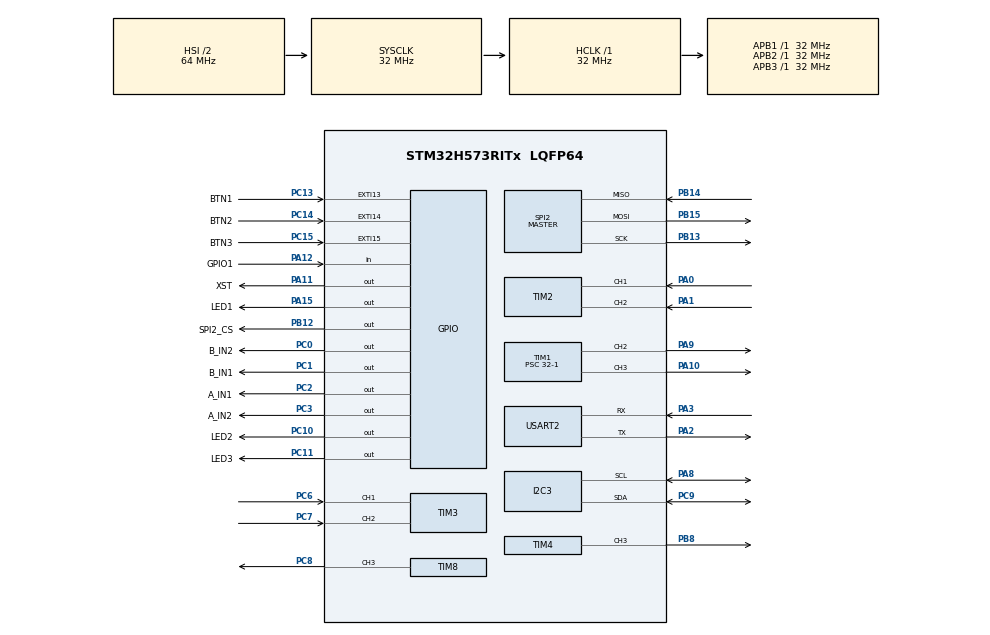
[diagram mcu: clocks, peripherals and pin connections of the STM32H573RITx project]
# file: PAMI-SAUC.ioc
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BOOTPATH.BootPathName=LEGACY
BOOTPATH.UserSelectedBootPath=LEGACY
CORTEX_M33_NS.userName=CORTEX_M33
I2C3.Timing=0x00707CBB
Mcu.Family=STM32H5
Mcu.Name=STM32H573RITx
Mcu.Package=LQFP64
NVIC.EXTI13_IRQn=true\:0\:0\:false\:false\:true\:true\:true\:true
NVIC.EXTI14_IRQn=true\:0\:0\:false\:false\:true\:true\:true\:true
NVIC.EXTI15_IRQn=true\:0\:0\:false\:false\:true\:true\:true\:true
NVIC.PriorityGroup=NVIC_PRIORITYGROUP_4
PA0.Signal=S_TIM2_CH1
PA1.Signal=S_TIM2_CH2
PA10.Signal=S_TIM1_CH3
PA11.GPIO_Label=XST
PA11.Signal=GPIO_Output
PA12.GPIO_Label=GPIO1
PA12.Signal=GPIO_Input
PA13(JTMS/SWDIO).Mode=Trace_Asynchronous_SW
PA13(JTMS/SWDIO).Signal=DEBUG_JTMS-SWDIO
PA14(JTCK/SWCLK).Mode=Trace_Asynchronous_SW
PA14(JTCK/SWCLK).Signal=DEBUG_JTCK-SWCLK
PA15(JTDI).GPIO_Label=LED1
PA15(JTDI).Signal=GPIO_Output
PA2.Mode=Asynchronous
PA2.Signal=USART2_TX
PA3.Mode=Asynchronous
PA3.Signal=USART2_RX
PA8.Mode=I2C
PA8.Signal=I2C3_SCL
PA9.Signal=S_TIM1_CH2
PB12.GPIO_Label=SPI2_CS
PB12.Signal=GPIO_Output
PB13.Mode=Full_Duplex_Master
PB13.Signal=SPI2_SCK
PB14.Mode=Full_Duplex_Master
PB14.Signal=SPI2_MISO
PB15.Mode=Full_Duplex_Master
PB15.Signal=SPI2_MOSI
PB3(JTDO/TRACESWO).Mode=Trace_Asynchronous_SW
PB3(JTDO/TRACESWO).Signal=DEBUG_JTDO-SWO
PB8.Signal=S_TIM4_CH3
PC0.GPIO_Label=B_IN2
PC0.Signal=GPIO_Output
PC1.GPIO_Label=B_IN1
PC1.Signal=GPIO_Output
PC10.GPIO_Label=LED2
PC10.Signal=GPIO_Output
PC11.GPIO_Label=LED3
PC11.Signal=GPIO_Output
PC13.GPIO_Label=BTN1
PC13.GPIO_PuPd=GPIO_PULLUP
PC13.Signal=GPXTI13
PC14-OSC32_IN(OSC32_IN).GPIO_Label=BTN2
PC14-OSC32_IN(OSC32_IN).GPIO_PuPd=GPIO_PULLUP
PC14-OSC32_IN(OSC32_IN).Signal=GPXTI14
PC15-OSC32_OUT(OSC32_OUT).GPIO_Label=BTN3
PC15-OSC32_OUT(OSC32_OUT).GPIO_PuPd=GPIO_PULLUP
PC15-OSC32_OUT(OSC32_OUT).Signal=GPXTI15
PC2.GPIO_Label=A_IN1
PC2.Signal=GPIO_Output
PC3.GPIO_Label=A_IN2
PC3.Signal=GPIO_Output
PC6.Signal=S_TIM3_CH1
PC7.Signal=S_TIM3_CH2
PC8.Signal=S_TIM8_CH3
PC9.Mode=I2C
PC9.Signal=I2C3_SDA
PH0-OSC_IN(PH0).Mode=HSE-External-Oscillator
PH0-OSC_IN(PH0).Signal=RCC_OSC_IN
PH1-OSC_OUT(PH1).Mode=HSE-External-Oscillator
PH1-OSC_OUT(PH1).Signal=RCC_OSC_OUT
ProjectManager.HeapSize=0x200
ProjectManager.StackSize=0x400
ProjectManager.TargetToolchain=STM32CubeIDE
RCC.ADCFreq_Value=32000000
RCC.AHBFreq_Value=32000000
RCC.APB1Freq_Value=32000000
RCC.APB1TimFreq_Value=32000000
RCC.APB2Freq_Value=32000000
RCC.APB2TimFreq_Value=32000000
RCC.APB3Freq_Value=32000000
RCC.CSI_VALUE=4000000
RCC.CortexFreq_Value=32000000
RCC.EPOD_VALUE=4000000
RCC.HCLKFreq_Value=32000000
RCC.HSE_VALUE=25000000
RCC.HSI48_VALUE=48000000
RCC.HSI_VALUE=64000000
RCC.LSE_VALUE=32768
RCC.LSIRC_VALUE=32000
RCC.PLL1Q=3
RCC.PLLFRACN=0
RCC.PLLN=32
RCC.SYSCLKFreq_VALUE=32000000
RCC.USBFreq_Value=48000000
RCC.VCOOutputFreq_Value=128000000
SH.S_TIM1_CH2.0=TIM1_CH2,PWM Generation2 CH2
SH.S_TIM1_CH3.0=TIM1_CH3,PWM Generation3 CH3
SH.S_TIM2_CH1.0=TIM2_CH1,Encoder_Interface
SH.S_TIM2_CH2.0=TIM2_CH2,Encoder_Interface
SH.S_TIM3_CH1.0=TIM3_CH1,Encoder_Interface
SH.S_TIM3_CH2.0=TIM3_CH2,Encoder_Interface
SH.S_TIM4_CH3.0=TIM4_CH3,PWM Generation3 CH3
SH.S_TIM8_CH3.0=TIM8_CH3,PWM Generation3 CH3
SPI2.CalculateBaudRate=21.333332 MBits/s
SPI2.Direction=SPI_DIRECTION_2LINES
SPI2.Mode=SPI_MODE_MASTER
SPI2.VirtualType=VM_MASTER
TIM1.Channel-PWM\ Generation2\ CH2=TIM_CHANNEL_2
TIM1.Channel-PWM\ Generation3\ CH3=TIM_CHANNEL_3
TIM1.PeriodNoDither=2000-1
TIM1.Prescaler=32-1
TIM4.Channel-PWM\ Generation3\ CH3=TIM_CHANNEL_3
TIM8.Channel-PWM\ Generation3\ CH3=TIM_CHANNEL_3
USART2.VirtualMode-Asynchronous=VM_ASYNC
VP_BOOTPATH_VS_BOOTPATH.Mode=BP_Activate
VP_CORTEX_M33_NS_VS_Hclk.Mode=Hclk_Mode
VP_ICACHE_VS_ICACHE.Mode=DirectMappedCache
VP_MEMORYMAP_VS_MEMORYMAP.Mode=CurAppReg
VP_PWR_VS_LPOM.Mode=PowerOptimisation
VP_PWR_VS_SECSignals.Mode=Security/Privilege
VP_TIM1_VS_ClockSourceINT.Mode=Internal
VP_TIM4_VS_ClockSourceINT.Mode=Internal
VP_TIM8_VS_ClockSourceINT.Mode=Internal
board=custom

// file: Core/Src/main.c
/* USER CODE BEGIN Header */
/**
  ******************************************************************************
  * @file           : main.c
  * @brief          : Main program body
  ******************************************************************************
  * @attention
  *
  * Copyright (c) 2026 STMicroelectronics.
  * All rights reserved.
  *
  * This software is licensed under terms that can be found in the LICENSE file
  * in the root directory of this software component.
  * If no LICENSE file comes with this software, it is provided AS-IS.
  *
  ******************************************************************************
  */
/* USER CODE END Header */
#include "main.h"

/* USER CODE BEGIN Includes */
#include "utils.h"
/* USER CODE END Includes */

/* USER CODE BEGIN PTD */
enum etat_jeu { OFF, AVANT_JEU, DEPLACEMENT, ANIMATION };
/* USER CODE END PTD */

I2C_HandleTypeDef hi2c3;

SPI_HandleTypeDef hspi2;

TIM_HandleTypeDef htim1;
TIM_HandleTypeDef htim2;
TIM_HandleTypeDef htim3;
TIM_HandleTypeDef htim4;
TIM_HandleTypeDef htim8;

UART_HandleTypeDef huart2;

/* USER CODE BEGIN PV */
enum etat_jeu etape = OFF;
statInfo_t_VL53L0X distanceStr;
LineSensor_t lineFollower;
uint8_t detection_IR;
uint16_t distance;
bool M1 = 1, M2 = 1;
/* USER CODE END PV */

void SystemClock_Config(void);
static void MX_GPIO_Init(void);
static void MX_I2C3_Init(void);
static void MX_SPI2_Init(void);
static void MX_TIM1_Init(void);
static void MX_TIM2_Init(void);
static void MX_TIM3_Init(void);
static void MX_TIM4_Init(void);
static void MX_TIM8_Init(void);
static void MX_USART2_UART_Init(void);
static void MX_ICACHE_Init(void);

/* USER CODE BEGIN 0 */
int __io_putchar(int ch)
{
	HAL_UART_Transmit(&huart2, (uint8_t *)&ch, 1, HAL_MAX_DELAY);
	return ch;
}

int __io_getchar(void)
{
	uint8_t ch = 0;
	__HAL_UART_CLEAR_OREFLAG(&huart2);
	HAL_UART_Receive(&huart2, (uint8_t *)&ch, 1, HAL_MAX_DELAY);
	HAL_UART_Transmit(&huart2, (uint8_t *)&ch, 1, HAL_MAX_DELAY);
	return ch;
}
/* USER CODE END 0 */

int main(void)
{

  /* USER CODE BEGIN 1 */
  Line_Init(&lineFollower, &hspi2, SPI2_CS_GPIO_Port, SPI2_CS_Pin, 8);
  //initVL53L0X(1, &hi2c3);
  printf("Calibration Capteurs Ligne (0-4095)\r\n");

  /* USER CODE END 1 */

  /* MCU Configuration--------------------------------------------------------*/

  /* Reset of all peripherals, Initializes the Flash interface and the Systick. */
  HAL_Init();

  /* Configure the system clock */
  SystemClock_Config();

  /* Initialize all configured peripherals */
  MX_GPIO_Init();
  MX_I2C3_Init();
  MX_SPI2_Init();
  MX_TIM1_Init();
  MX_TIM2_Init();
  MX_TIM3_Init();
  MX_TIM4_Init();
  MX_TIM8_Init();
  MX_USART2_UART_Init();
  MX_ICACHE_Init();
  /* USER CODE BEGIN 2 */
  HAL_TIM_PWM_Start(&htim1, TIM_CHANNEL_2); HAL_TIM_PWM_Start(&htim1, TIM_CHANNEL_3);
  HAL_GPIO_WritePin(GPIOC, A_IN1_Pin, 1); HAL_GPIO_WritePin(GPIOC, A_IN2_Pin, 0);
  HAL_GPIO_WritePin(GPIOC, B_IN1_Pin, 1); HAL_GPIO_WritePin(GPIOC, B_IN2_Pin, 0);
	setSignalRateLimit(200);
	setVcselPulsePeriod(VcselPeriodPreRange, 10);
	setVcselPulsePeriod(VcselPeriodFinalRange, 14);
	//setMeasurementTimingBudget(300 * 1000UL);
  /* USER CODE END 2 */

  /* Infinite loop */
  /* USER CODE BEGIN WHILE */
  while (1)
  {
	  /*int test=0;
	  HAL_GPIO_ReadPin(BTN1_GPIO_Port , BTN1_Pin);
	  test=HAL_GPIO_ReadPin(BTN1_GPIO_Port , BTN1_Pin);
	  */

	  /*switch(etape)
	  {
	  case OFF :
		  break;
	  case AVANT_JEU :
		  HAL_Delay(90000);
		  etape++;
		  break;
	  case DEPLACEMENT :
		  Line_ReadAll(&lineFollower);
		  distance = readRangeSingleMillimeters(&distanceStr);
		  printf("C1:%d C2:%d C3:%d C4:%d C5:%d C6:%d C7:%d C8:%d\r\n",
		         lineFollower.sensorValues[1], lineFollower.sensorValues[2],
		         lineFollower.sensorValues[3], lineFollower.sensorValues[4],
		         lineFollower.sensorValues[5], lineFollower.sensorValues[6],
		         lineFollower.sensorValues[7], lineFollower.sensorValues[0]);
		  for(int i=0; i<8; i++)
			  if(lineFollower.sensorValues[i]>3000) lineFollower.sensorValues[i] = 1;
			  else                                  lineFollower.sensorValues[i] = 0;
		  detection_IR = (lineFollower.sensorValues[1] << 7) | (lineFollower.sensorValues[2] << 6) |
				         (lineFollower.sensorValues[3] << 5) | (lineFollower.sensorValues[4] << 4) |
				         (lineFollower.sensorValues[5] << 3) | (lineFollower.sensorValues[6] << 2) |
				         (lineFollower.sensorValues[7] << 1) | (lineFollower.sensorValues[0] << 0) ;
		  switch(detection_IR)
		  {
		  case 0b00011000 :
			  M1 = M2 = 1;
			  break;
		  case 0b00000000 :
			  M1 = M2 = 0;
			  break;
		  case 0b00001000 :
			  M1 = 1; M2 = 0;
			  break;
		  case 0b00010000 :
			  M1 = 0; M2 = 1;
			  break;
		  }
		  Moteurs(M1,M2);
		  if(distance < 10) { M1 = M2 = 0; }
		  break;
	  case ANIMATION :
		  // Fonction pour effectuer le salut avec le XL320
		  etape--;
		  break;
	  }*/
    /* USER CODE END WHILE */

  }
}

void SystemClock_Config(void)
{
  RCC_OscInitTypeDef RCC_OscInitStruct = {0};
  RCC_ClkInitTypeDef RCC_ClkInitStruct = {0};

  /** Configure the main internal regulator output voltage
  */
  __HAL_PWR_VOLTAGESCALING_CONFIG(PWR_REGULATOR_VOLTAGE_SCALE3);

  while(!__HAL_PWR_GET_FLAG(PWR_FLAG_VOSRDY)) {}

  /** Initializes the RCC Oscillators according to the specified parameters
  * in the RCC_OscInitTypeDef structure.
  */
  RCC_OscInitStruct.OscillatorType = RCC_OSCILLATORTYPE_HSI|RCC_OSCILLATORTYPE_CSI;
  RCC_OscInitStruct.HSIState = RCC_HSI_ON;
  RCC_OscInitStruct.HSIDiv = RCC_HSI_DIV2;
  RCC_OscInitStruct.HSICalibrationValue = RCC_HSICALIBRATION_DEFAULT;
  RCC_OscInitStruct.CSIState = RCC_CSI_ON;
  RCC_OscInitStruct.CSICalibrationValue = RCC_CSICALIBRATION_DEFAULT;
  RCC_OscInitStruct.PLL.PLLState = RCC_PLL_ON;
  RCC_OscInitStruct.PLL.PLLSource = RCC_PLL1_SOURCE_CSI;
  RCC_OscInitStruct.PLL.PLLM = 1;
  RCC_OscInitStruct.PLL.PLLN = 32;
  RCC_OscInitStruct.PLL.PLLP = 2;
  RCC_OscInitStruct.PLL.PLLQ = 3;
  RCC_OscInitStruct.PLL.PLLR = 2;
  RCC_OscInitStruct.PLL.PLLRGE = RCC_PLL1_VCIRANGE_2;
  RCC_OscInitStruct.PLL.PLLVCOSEL = RCC_PLL1_VCORANGE_WIDE;
  RCC_OscInitStruct.PLL.PLLFRACN = 0;
  if (HAL_RCC_OscConfig(&RCC_OscInitStruct) != HAL_OK)
  {
    Error_Handler();
  }

  /** Initializes the CPU, AHB and APB buses clocks
  */
  RCC_ClkInitStruct.ClockType = RCC_CLOCKTYPE_HCLK|RCC_CLOCKTYPE_SYSCLK
                              |RCC_CLOCKTYPE_PCLK1|RCC_CLOCKTYPE_PCLK2
                              |RCC_CLOCKTYPE_PCLK3;
  RCC_ClkInitStruct.SYSCLKSource = RCC_SYSCLKSOURCE_HSI;
  RCC_ClkInitStruct.AHBCLKDivider = RCC_SYSCLK_DIV1;
  RCC_ClkInitStruct.APB1CLKDivider = RCC_HCLK_DIV1;
  RCC_ClkInitStruct.APB2CLKDivider = RCC_HCLK_DIV1;
  RCC_ClkInitStruct.APB3CLKDivider = RCC_HCLK_DIV1;

  if (HAL_RCC_ClockConfig(&RCC_ClkInitStruct, FLASH_LATENCY_1) != HAL_OK)
  {
    Error_Handler();
  }

  /** Configure the programming delay
  */
  __HAL_FLASH_SET_PROGRAM_DELAY(FLASH_PROGRAMMING_DELAY_0);
}

static void MX_I2C3_Init(void)
{

  hi2c3.Instance = I2C3;
  hi2c3.Init.Timing = 0x00707CBB;
  hi2c3.Init.OwnAddress1 = 0;
  hi2c3.Init.AddressingMode = I2C_ADDRESSINGMODE_7BIT;
  hi2c3.Init.DualAddressMode = I2C_DUALADDRESS_DISABLE;
  hi2c3.Init.OwnAddress2 = 0;
  hi2c3.Init.OwnAddress2Masks = I2C_OA2_NOMASK;
  hi2c3.Init.GeneralCallMode = I2C_GENERALCALL_DISABLE;
  hi2c3.Init.NoStretchMode = I2C_NOSTRETCH_DISABLE;
  if (HAL_I2C_Init(&hi2c3) != HAL_OK)
  {
    Error_Handler();
  }

  /** Configure Analogue filter
  */
  if (HAL_I2CEx_ConfigAnalogFilter(&hi2c3, I2C_ANALOGFILTER_ENABLE) != HAL_OK)
  {
    Error_Handler();
  }

  /** Configure Digital filter
  */
  if (HAL_I2CEx_ConfigDigitalFilter(&hi2c3, 0) != HAL_OK)
  {
    Error_Handler();
  }

}

static void MX_ICACHE_Init(void)
{

  /** Enable instruction cache in 1-way (direct mapped cache)
  */
  if (HAL_ICACHE_ConfigAssociativityMode(ICACHE_1WAY) != HAL_OK)
  {
    Error_Handler();
  }
  if (HAL_ICACHE_Enable() != HAL_OK)
  {
    Error_Handler();
  }

}

static void MX_SPI2_Init(void)
{

  /* SPI2 parameter configuration*/
  hspi2.Instance = SPI2;
  hspi2.Init.Mode = SPI_MODE_MASTER;
  hspi2.Init.Direction = SPI_DIRECTION_2LINES;
  hspi2.Init.DataSize = SPI_DATASIZE_4BIT;
  hspi2.Init.CLKPolarity = SPI_POLARITY_LOW;
  hspi2.Init.CLKPhase = SPI_PHASE_1EDGE;
  hspi2.Init.NSS = SPI_NSS_SOFT;
  hspi2.Init.BaudRatePrescaler = SPI_BAUDRATEPRESCALER_2;
  hspi2.Init.FirstBit = SPI_FIRSTBIT_MSB;
  hspi2.Init.TIMode = SPI_TIMODE_DISABLE;
  hspi2.Init.CRCCalculation = SPI_CRCCALCULATION_DISABLE;
  hspi2.Init.CRCPolynomial = 0x7;
  hspi2.Init.NSSPMode = SPI_NSS_PULSE_ENABLE;
  hspi2.Init.NSSPolarity = SPI_NSS_POLARITY_LOW;
  hspi2.Init.FifoThreshold = SPI_FIFO_THRESHOLD_01DATA;
  hspi2.Init.MasterSSIdleness = SPI_MASTER_SS_IDLENESS_00CYCLE;
  hspi2.Init.MasterInterDataIdleness = SPI_MASTER_INTERDATA_IDLENESS_00CYCLE;
  hspi2.Init.MasterReceiverAutoSusp = SPI_MASTER_RX_AUTOSUSP_DISABLE;
  hspi2.Init.MasterKeepIOState = SPI_MASTER_KEEP_IO_STATE_DISABLE;
  hspi2.Init.IOSwap = SPI_IO_SWAP_DISABLE;
  hspi2.Init.ReadyMasterManagement = SPI_RDY_MASTER_MANAGEMENT_INTERNALLY;
  hspi2.Init.ReadyPolarity = SPI_RDY_POLARITY_HIGH;
  if (HAL_SPI_Init(&hspi2) != HAL_OK)
  {
    Error_Handler();
  }

}

static void MX_TIM1_Init(void)
{

  TIM_ClockConfigTypeDef sClockSourceConfig = {0};
  TIM_MasterConfigTypeDef sMasterConfig = {0};
  TIM_OC_InitTypeDef sConfigOC = {0};
  TIM_BreakDeadTimeConfigTypeDef sBreakDeadTimeConfig = {0};

  htim1.Instance = TIM1;
  htim1.Init.Prescaler = 32-1;
  htim1.Init.CounterMode = TIM_COUNTERMODE_UP;
  htim1.Init.Period = 1999;
  htim1.Init.ClockDivision = TIM_CLOCKDIVISION_DIV1;
  htim1.Init.RepetitionCounter = 0;
  htim1.Init.AutoReloadPreload = TIM_AUTORELOAD_PRELOAD_DISABLE;
  if (HAL_TIM_Base_Init(&htim1) != HAL_OK)
  {
    Error_Handler();
  }
  sClockSourceConfig.ClockSource = TIM_CLOCKSOURCE_INTERNAL;
  if (HAL_TIM_ConfigClockSource(&htim1, &sClockSourceConfig) != HAL_OK)
  {
    Error_Handler();
  }
  if (HAL_TIM_PWM_Init(&htim1) != HAL_OK)
  {
    Error_Handler();
  }
  sMasterConfig.MasterOutputTrigger = TIM_TRGO_RESET;
  sMasterConfig.MasterOutputTrigger2 = TIM_TRGO2_RESET;
  sMasterConfig.MasterSlaveMode = TIM_MASTERSLAVEMODE_DISABLE;
  if (HAL_TIMEx_MasterConfigSynchronization(&htim1, &sMasterConfig) != HAL_OK)
  {
    Error_Handler();
  }
  sConfigOC.OCMode = TIM_OCMODE_PWM1;
  sConfigOC.Pulse = 0;
  sConfigOC.OCPolarity = TIM_OCPOLARITY_HIGH;
  sConfigOC.OCNPolarity = TIM_OCNPOLARITY_HIGH;
  sConfigOC.OCFastMode = TIM_OCFAST_DISABLE;
  sConfigOC.OCIdleState = TIM_OCIDLESTATE_RESET;
  sConfigOC.OCNIdleState = TIM_OCNIDLESTATE_RESET;
  if (HAL_TIM_PWM_ConfigChannel(&htim1, &sConfigOC, TIM_CHANNEL_2) != HAL_OK)
  {
    Error_Handler();
  }
  if (HAL_TIM_PWM_ConfigChannel(&htim1, &sConfigOC, TIM_CHANNEL_3) != HAL_OK)
  {
    Error_Handler();
  }
  sBreakDeadTimeConfig.OffStateRunMode = TIM_OSSR_DISABLE;
  sBreakDeadTimeConfig.OffStateIDLEMode = TIM_OSSI_DISABLE;
  sBreakDeadTimeConfig.LockLevel = TIM_LOCKLEVEL_OFF;
  sBreakDeadTimeConfig.DeadTime = 0;
  sBreakDeadTimeConfig.BreakState = TIM_BREAK_DISABLE;
  sBreakDeadTimeConfig.BreakPolarity = TIM_BREAKPOLARITY_HIGH;
  sBreakDeadTimeConfig.BreakFilter = 0;
  sBreakDeadTimeConfig.BreakAFMode = TIM_BREAK_AFMODE_INPUT;
  sBreakDeadTimeConfig.Break2State = TIM_BREAK2_DISABLE;
  sBreakDeadTimeConfig.Break2Polarity = TIM_BREAK2POLARITY_HIGH;
  sBreakDeadTimeConfig.Break2Filter = 0;
  sBreakDeadTimeConfig.Break2AFMode = TIM_BREAK_AFMODE_INPUT;
  sBreakDeadTimeConfig.AutomaticOutput = TIM_AUTOMATICOUTPUT_DISABLE;
  if (HAL_TIMEx_ConfigBreakDeadTime(&htim1, &sBreakDeadTimeConfig) != HAL_OK)
  {
    Error_Handler();
  }
  HAL_TIM_MspPostInit(&htim1);

}

static void MX_TIM2_Init(void)
{

  TIM_Encoder_InitTypeDef sConfig = {0};
  TIM_MasterConfigTypeDef sMasterConfig = {0};

  htim2.Instance = TIM2;
  htim2.Init.Prescaler = 0;
  htim2.Init.CounterMode = TIM_COUNTERMODE_UP;
  htim2.Init.Period = 4294967295;
  htim2.Init.ClockDivision = TIM_CLOCKDIVISION_DIV1;
  htim2.Init.AutoReloadPreload = TIM_AUTORELOAD_PRELOAD_DISABLE;
  sConfig.EncoderMode = TIM_ENCODERMODE_TI1;
  sConfig.IC1Polarity = TIM_ICPOLARITY_RISING;
  sConfig.IC1Selection = TIM_ICSELECTION_DIRECTTI;
  sConfig.IC1Prescaler = TIM_ICPSC_DIV1;
  sConfig.IC1Filter = 0;
  sConfig.IC2Polarity = TIM_ICPOLARITY_RISING;
  sConfig.IC2Selection = TIM_ICSELECTION_DIRECTTI;
  sConfig.IC2Prescaler = TIM_ICPSC_DIV1;
  sConfig.IC2Filter = 0;
  if (HAL_TIM_Encoder_Init(&htim2, &sConfig) != HAL_OK)
  {
    Error_Handler();
  }
  sMasterConfig.MasterOutputTrigger = TIM_TRGO_RESET;
  sMasterConfig.MasterSlaveMode = TIM_MASTERSLAVEMODE_DISABLE;
  if (HAL_TIMEx_MasterConfigSynchronization(&htim2, &sMasterConfig) != HAL_OK)
  {
    Error_Handler();
  }

}

static void MX_TIM3_Init(void)
{

  TIM_Encoder_InitTypeDef sConfig = {0};
  TIM_MasterConfigTypeDef sMasterConfig = {0};

  htim3.Instance = TIM3;
  htim3.Init.Prescaler = 0;
  htim3.Init.CounterMode = TIM_COUNTERMODE_UP;
  htim3.Init.Period = 65535;
  htim3.Init.ClockDivision = TIM_CLOCKDIVISION_DIV1;
  htim3.Init.AutoReloadPreload = TIM_AUTORELOAD_PRELOAD_DISABLE;
  sConfig.EncoderMode = TIM_ENCODERMODE_TI1;
  sConfig.IC1Polarity = TIM_ICPOLARITY_RISING;
  sConfig.IC1Selection = TIM_ICSELECTION_DIRECTTI;
  sConfig.IC1Prescaler = TIM_ICPSC_DIV1;
  sConfig.IC1Filter = 0;
  sConfig.IC2Polarity = TIM_ICPOLARITY_RISING;
  sConfig.IC2Selection = TIM_ICSELECTION_DIRECTTI;
  sConfig.IC2Prescaler = TIM_ICPSC_DIV1;
  sConfig.IC2Filter = 0;
  if (HAL_TIM_Encoder_Init(&htim3, &sConfig) != HAL_OK)
  {
    Error_Handler();
  }
  sMasterConfig.MasterOutputTrigger = TIM_TRGO_RESET;
  sMasterConfig.MasterSlaveMode = TIM_MASTERSLAVEMODE_DISABLE;
  if (HAL_TIMEx_MasterConfigSynchronization(&htim3, &sMasterConfig) != HAL_OK)
  {
    Error_Handler();
  }

}

static void MX_TIM4_Init(void)
{

  TIM_ClockConfigTypeDef sClockSourceConfig = {0};
  TIM_MasterConfigTypeDef sMasterConfig = {0};
  TIM_OC_InitTypeDef sConfigOC = {0};

  htim4.Instance = TIM4;
  htim4.Init.Prescaler = 0;
  htim4.Init.CounterMode = TIM_COUNTERMODE_UP;
  htim4.Init.Period = 65535;
  htim4.Init.ClockDivision = TIM_CLOCKDIVISION_DIV1;
  htim4.Init.AutoReloadPreload = TIM_AUTORELOAD_PRELOAD_DISABLE;
  if (HAL_TIM_Base_Init(&htim4) != HAL_OK)
  {
    Error_Handler();
  }
  sClockSourceConfig.ClockSource = TIM_CLOCKSOURCE_INTERNAL;
  if (HAL_TIM_ConfigClockSource(&htim4, &sClockSourceConfig) != HAL_OK)
  {
    Error_Handler();
  }
  if (HAL_TIM_PWM_Init(&htim4) != HAL_OK)
  {
    Error_Handler();
  }
  sMasterConfig.MasterOutputTrigger = TIM_TRGO_RESET;
  sMasterConfig.MasterSlaveMode = TIM_MASTERSLAVEMODE_DISABLE;
  if (HAL_TIMEx_MasterConfigSynchronization(&htim4, &sMasterConfig) != HAL_OK)
  {
    Error_Handler();
  }
  sConfigOC.OCMode = TIM_OCMODE_PWM1;
  sConfigOC.Pulse = 0;
  sConfigOC.OCPolarity = TIM_OCPOLARITY_HIGH;
  sConfigOC.OCFastMode = TIM_OCFAST_DISABLE;
  if (HAL_TIM_PWM_ConfigChannel(&htim4, &sConfigOC, TIM_CHANNEL_3) != HAL_OK)
  {
    Error_Handler();
  }
  HAL_TIM_MspPostInit(&htim4);

}

static void MX_TIM8_Init(void)
{

  TIM_ClockConfigTypeDef sClockSourceConfig = {0};
  TIM_MasterConfigTypeDef sMasterConfig = {0};
  TIM_OC_InitTypeDef sConfigOC = {0};
  TIM_BreakDeadTimeConfigTypeDef sBreakDeadTimeConfig = {0};

  htim8.Instance = TIM8;
  htim8.Init.Prescaler = 0;
  htim8.Init.CounterMode = TIM_COUNTERMODE_UP;
  htim8.Init.Period = 65535;
  htim8.Init.ClockDivision = TIM_CLOCKDIVISION_DIV1;
  htim8.Init.RepetitionCounter = 0;
  htim8.Init.AutoReloadPreload = TIM_AUTORELOAD_PRELOAD_DISABLE;
  if (HAL_TIM_Base_Init(&htim8) != HAL_OK)
  {
    Error_Handler();
  }
  sClockSourceConfig.ClockSource = TIM_CLOCKSOURCE_INTERNAL;
  if (HAL_TIM_ConfigClockSource(&htim8, &sClockSourceConfig) != HAL_OK)
  {
    Error_Handler();
  }
  if (HAL_TIM_PWM_Init(&htim8) != HAL_OK)
  {
    Error_Handler();
  }
  sMasterConfig.MasterOutputTrigger = TIM_TRGO_RESET;
  sMasterConfig.MasterOutputTrigger2 = TIM_TRGO2_RESET;
  sMasterConfig.MasterSlaveMode = TIM_MASTERSLAVEMODE_DISABLE;
  if (HAL_TIMEx_MasterConfigSynchronization(&htim8, &sMasterConfig) != HAL_OK)
  {
    Error_Handler();
  }
  sConfigOC.OCMode = TIM_OCMODE_PWM1;
  sConfigOC.Pulse = 0;
  sConfigOC.OCPolarity = TIM_OCPOLARITY_HIGH;
  sConfigOC.OCNPolarity = TIM_OCNPOLARITY_HIGH;
  sConfigOC.OCFastMode = TIM_OCFAST_DISABLE;
  sConfigOC.OCIdleState = TIM_OCIDLESTATE_RESET;
  sConfigOC.OCNIdleState = TIM_OCNIDLESTATE_RESET;
  if (HAL_TIM_PWM_ConfigChannel(&htim8, &sConfigOC, TIM_CHANNEL_3) != HAL_OK)
  {
    Error_Handler();
  }
  sBreakDeadTimeConfig.OffStateRunMode = TIM_OSSR_DISABLE;
  sBreakDeadTimeConfig.OffStateIDLEMode = TIM_OSSI_DISABLE;
  sBreakDeadTimeConfig.LockLevel = TIM_LOCKLEVEL_OFF;
  sBreakDeadTimeConfig.DeadTime = 0;
  sBreakDeadTimeConfig.BreakState = TIM_BREAK_DISABLE;
  sBreakDeadTimeConfig.BreakPolarity = TIM_BREAKPOLARITY_HIGH;
  sBreakDeadTimeConfig.BreakFilter = 0;
  sBreakDeadTimeConfig.BreakAFMode = TIM_BREAK_AFMODE_INPUT;
  sBreakDeadTimeConfig.Break2State = TIM_BREAK2_DISABLE;
  sBreakDeadTimeConfig.Break2Polarity = TIM_BREAK2POLARITY_HIGH;
  sBreakDeadTimeConfig.Break2Filter = 0;
  sBreakDeadTimeConfig.Break2AFMode = TIM_BREAK_AFMODE_INPUT;
  sBreakDeadTimeConfig.AutomaticOutput = TIM_AUTOMATICOUTPUT_DISABLE;
  if (HAL_TIMEx_ConfigBreakDeadTime(&htim8, &sBreakDeadTimeConfig) != HAL_OK)
  {
    Error_Handler();
  }
  HAL_TIM_MspPostInit(&htim8);

}

static void MX_USART2_UART_Init(void)
{

  huart2.Instance = USART2;
  huart2.Init.BaudRate = 115200;
  huart2.Init.WordLength = UART_WORDLENGTH_8B;
  huart2.Init.StopBits = UART_STOPBITS_1;
  huart2.Init.Parity = UART_PARITY_NONE;
  huart2.Init.Mode = UART_MODE_TX_RX;
  huart2.Init.HwFlowCtl = UART_HWCONTROL_NONE;
  huart2.Init.OverSampling = UART_OVERSAMPLING_16;
  huart2.Init.OneBitSampling = UART_ONE_BIT_SAMPLE_DISABLE;
  huart2.Init.ClockPrescaler = UART_PRESCALER_DIV1;
  huart2.AdvancedInit.AdvFeatureInit = UART_ADVFEATURE_NO_INIT;
  if (HAL_UART_Init(&huart2) != HAL_OK)
  {
    Error_Handler();
  }
  if (HAL_UARTEx_SetTxFifoThreshold(&huart2, UART_TXFIFO_THRESHOLD_1_8) != HAL_OK)
  {
    Error_Handler();
  }
  if (HAL_UARTEx_SetRxFifoThreshold(&huart2, UART_RXFIFO_THRESHOLD_1_8) != HAL_OK)
  {
    Error_Handler();
  }
  if (HAL_UARTEx_DisableFifoMode(&huart2) != HAL_OK)
  {
    Error_Handler();
  }

}

static void MX_GPIO_Init(void)
{
  GPIO_InitTypeDef GPIO_InitStruct = {0};

  /* GPIO Ports Clock Enable */
  __HAL_RCC_GPIOC_CLK_ENABLE();
  __HAL_RCC_GPIOH_CLK_ENABLE();
  __HAL_RCC_GPIOA_CLK_ENABLE();
  __HAL_RCC_GPIOB_CLK_ENABLE();

  /*Configure GPIO pin Output Level */
  HAL_GPIO_WritePin(GPIOC, B_IN2_Pin|B_IN1_Pin|A_IN1_Pin|A_IN2_Pin
                          |LED2_Pin|LED3_Pin, GPIO_PIN_RESET);

  /*Configure GPIO pin Output Level */
  HAL_GPIO_WritePin(SPI2_CS_GPIO_Port, SPI2_CS_Pin, GPIO_PIN_RESET);

  /*Configure GPIO pin Output Level */
  HAL_GPIO_WritePin(GPIOA, XST_Pin|LED1_Pin, GPIO_PIN_RESET);

  /*Configure GPIO pins : BTN1_Pin BTN2_Pin BTN3_Pin */
  GPIO_InitStruct.Pin = BTN1_Pin|BTN2_Pin|BTN3_Pin;
  GPIO_InitStruct.Mode = GPIO_MODE_IT_RISING;
  GPIO_InitStruct.Pull = GPIO_PULLUP;
  HAL_GPIO_Init(GPIOC, &GPIO_InitStruct);

  /*Configure GPIO pins : B_IN2_Pin B_IN1_Pin A_IN1_Pin A_IN2_Pin
                           LED2_Pin LED3_Pin */
  GPIO_InitStruct.Pin = B_IN2_Pin|B_IN1_Pin|A_IN1_Pin|A_IN2_Pin
                          |LED2_Pin|LED3_Pin;
  GPIO_InitStruct.Mode = GPIO_MODE_OUTPUT_PP;
  GPIO_InitStruct.Pull = GPIO_NOPULL;
  GPIO_InitStruct.Speed = GPIO_SPEED_FREQ_LOW;
  HAL_GPIO_Init(GPIOC, &GPIO_InitStruct);

  /*Configure GPIO pin : SPI2_CS_Pin */
  GPIO_InitStruct.Pin = SPI2_CS_Pin;
  GPIO_InitStruct.Mode = GPIO_MODE_OUTPUT_PP;
  GPIO_InitStruct.Pull = GPIO_NOPULL;
  GPIO_InitStruct.Speed = GPIO_SPEED_FREQ_LOW;
  HAL_GPIO_Init(SPI2_CS_GPIO_Port, &GPIO_InitStruct);

  /*Configure GPIO pins : XST_Pin LED1_Pin */
  GPIO_InitStruct.Pin = XST_Pin|LED1_Pin;
  GPIO_InitStruct.Mode = GPIO_MODE_OUTPUT_PP;
  GPIO_InitStruct.Pull = GPIO_NOPULL;
  GPIO_InitStruct.Speed = GPIO_SPEED_FREQ_LOW;
  HAL_GPIO_Init(GPIOA, &GPIO_InitStruct);

  /*Configure GPIO pin : GPIO1_Pin */
  GPIO_InitStruct.Pin = GPIO1_Pin;
  GPIO_InitStruct.Mode = GPIO_MODE_INPUT;
  GPIO_InitStruct.Pull = GPIO_NOPULL;
  HAL_GPIO_Init(GPIO1_GPIO_Port, &GPIO_InitStruct);

  /* EXTI interrupt init*/
  HAL_NVIC_SetPriority(EXTI13_IRQn, 0, 0);
  HAL_NVIC_EnableIRQ(EXTI13_IRQn);

  HAL_NVIC_SetPriority(EXTI14_IRQn, 0, 0);
  HAL_NVIC_EnableIRQ(EXTI14_IRQn);

  HAL_NVIC_SetPriority(EXTI15_IRQn, 0, 0);
  HAL_NVIC_EnableIRQ(EXTI15_IRQn);

}

/* USER CODE BEGIN 4 */
/*void HAL_GPIO_EXTI_Callback(uint16_t GPIO_Pin)
{
	switch(GPIO_Pin)
	{
	case BTN1_Pin :
		//if(etape == OFF) { etape++; HAL_GPIO_WritePin(LED1_GPIO_Port, LED1_Pin, 1); }
		HAL_GPIO_TogglePin(LED1_GPIO_Port, LED1_Pin);
		break;
	case BTN2_Pin :
		//
		HAL_GPIO_TogglePin(LED2_GPIO_Port, LED2_Pin);
		break;
	case BTN3_Pin :
		//
		HAL_GPIO_TogglePin(LED3_GPIO_Port, LED3_Pin);
		break;
	}
}*/
/* USER CODE END 4 */

void Error_Handler(void)
{
  __disable_irq();
  while (1)
  {
  }
}
